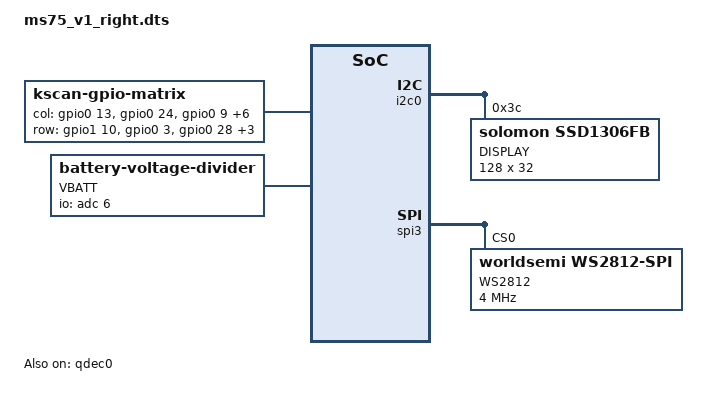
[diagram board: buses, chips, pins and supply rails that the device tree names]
#include "ms75_v1.dts"
#include <dt-bindings/led/led.h>
#include "ms75_v1_right_pinctrl.dtsi"

	/ {
		chosen {
			zephyr,display = &oled;
			zmk,underglow = &led_strip;
			zmk,battery = &vbatt;
		};
	
		default_transform: keymap_transform_0 {
			col-offset = <9>;
		};
	
		kscan0: kscan_0 {
			compatible = "zmk,kscan-gpio-matrix";
			label = "KSCAN";
			diode-direction = "col2row";
	
			col-gpios
            = <&gpio0 13 GPIO_ACTIVE_HIGH>
            , <&gpio0 24 GPIO_ACTIVE_HIGH>
            , <&gpio0  9 GPIO_ACTIVE_HIGH>
            , <&gpio0 10 GPIO_ACTIVE_HIGH>
            , <&gpio1  6 GPIO_ACTIVE_HIGH>
            , <&gpio1  4 GPIO_ACTIVE_HIGH>
            , <&gpio1  2 GPIO_ACTIVE_HIGH>
            , <&gpio0  6 GPIO_ACTIVE_HIGH>
            , <&gpio1 11 GPIO_ACTIVE_HIGH>
            ;

            row-gpios
            = <&gpio1 10 (GPIO_ACTIVE_HIGH | GPIO_PULL_DOWN)>
            , <&gpio0  3 (GPIO_ACTIVE_HIGH | GPIO_PULL_DOWN)>
            , <&gpio0 28 (GPIO_ACTIVE_HIGH | GPIO_PULL_DOWN)>
            , <&gpio1  9 (GPIO_ACTIVE_HIGH | GPIO_PULL_DOWN)>
            , <&gpio0  5 (GPIO_ACTIVE_HIGH | GPIO_PULL_DOWN)>
            , <&gpio0 26 (GPIO_ACTIVE_HIGH | GPIO_PULL_DOWN)>
            ;
            		};

		vbatt: vbatt {
			 compatible = "zmk,battery-voltage-divider";
			 label = "VBATT";
			 io-channels = <&adc 6>;
             output-ohms = <10000000>;
		     full-ohms   = <(10000000 + 4000000)>;
		};
};

&i2c0 {
	compatible = "nordic,nrf-twi";
	pinctrl-0 = <&i2c0_default>;
	pinctrl-1 = <&i2c0_sleep>;
	pinctrl-names = "default", "sleep";
    status = "okay";
   
   oled: ssd1306@3c {
	   compatible = "solomon,ssd1306fb";
	   reg = <0x3c>;
	   label = "DISPLAY";
	   width = <128>;
	   height = <32>;
	   segment-offset = <0>;
	   page-offset = <0>;
	   display-offset = <0>;
	   multiplex-ratio = <31>;
	   //segment-remap;
	   //com-invdir;
	   com-sequential;
	   prechargep = <0x22>;
   };
};

encoder: &qdec0 {
    status = "okay";
    led-pre = <0>;
    steps = <80>;
    pinctrl-0 = <&qdec_default>;
    pinctrl-names = "default";
};

    &spi3 {
        compatible = "nordic,nrf-spim";
        status = "okay";
      
        pinctrl-0 = <&spi3_default>;
        pinctrl-1 = <&spi3_sleep>;
        pinctrl-names = "default", "sleep";
      
        led_strip: ws2812@0 {
          compatible = "worldsemi,ws2812-spi";
          label = "WS2812";
      
          /* SPI */
          reg = <0>; /* ignored, but necessary for SPI bindings */
          spi-max-frequency = <4000000>;
      
          /* WS2812 */
          chain-length = <8>; /* number of LEDs */
          spi-one-frame = <0x70>;
          spi-zero-frame = <0x40>;
          color-mapping = <LED_COLOR_ID_GREEN
                                LED_COLOR_ID_RED
                                LED_COLOR_ID_BLUE>;
        };
      };
